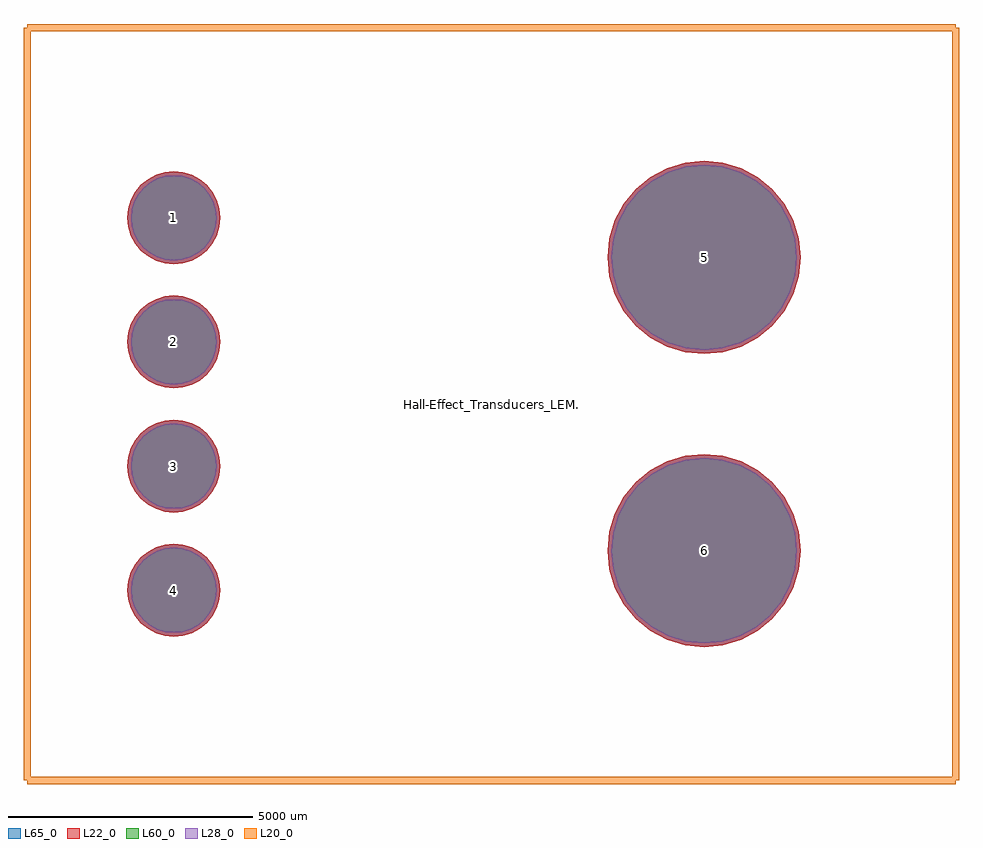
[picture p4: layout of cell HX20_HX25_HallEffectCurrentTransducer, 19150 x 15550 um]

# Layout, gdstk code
import gdstk
lib = gdstk.Library(unit=1e-6, precision=1e-09)
def P(c, l, *ps):  # polygons
    for p in ps: c.add(gdstk.Polygon(p, *l))
L20_0 = (20, 0)
L22_0 = (22, 0)
L28_0 = (28, 0)
L60_0 = (60, 0)
L65_0 = (65, 0)

hx20_hx25_halleffectcurr = lib.new_cell('HX20_HX25_HallEffectCurrentTransducer')
P(hx20_hx25_halleffectcurr, L22_0, [(-5550,-3810),(-5568.254,-3624.664),(-5622.314,-3446.451),(-5710.104,-3282.208),(-5828.249,-3138.249),(-5972.208,-3020.104),(-6136.451,-2932.314),(-6314.664,-2878.254),(-6500,-2860),(-6685.336,-2878.254),(-6863.549,-2932.314),(-7027.792,-3020.104),(-7171.751,-3138.249),(-7289.896,-3282.208),(-7377.686,-3446.451),(-7431.746,-3624.664),(-7450,-3810),(-7431.746,-3995.336),(-7377.686,-4173.549),(-7289.896,-4337.792),(-7171.751,-4481.751),(-7027.792,-4599.896),(-6863.549,-4687.686),(-6685.336,-4741.746),(-6500,-4760),(-6314.664,-4741.746),(-6136.451,-4687.686),(-5972.208,-4599.896),(-5828.249,-4481.751),(-5710.104,-4337.792),(-5622.314,-4173.549),(-5568.254,-3995.336)],
  [(-5550,3810),(-5568.254,3995.336),(-5622.314,4173.549),(-5710.104,4337.792),(-5828.249,4481.751),(-5972.208,4599.896),(-6136.451,4687.686),(-6314.664,4741.746),(-6500,4760),(-6685.336,4741.746),(-6863.549,4687.686),(-7027.792,4599.896),(-7171.751,4481.751),(-7289.896,4337.792),(-7377.686,4173.549),(-7431.746,3995.336),(-7450,3810),(-7431.746,3624.664),(-7377.686,3446.451),(-7289.896,3282.208),(-7171.751,3138.249),(-7027.792,3020.104),(-6863.549,2932.314),(-6685.336,2878.254),(-6500,2860),(-6314.664,2878.254),(-6136.451,2932.314),(-5972.208,3020.104),(-5828.249,3138.249),(-5710.104,3282.208),(-5622.314,3446.451),(-5568.254,3624.664)],
  [(-5550,1270),(-5568.254,1455.336),(-5622.314,1633.549),(-5710.104,1797.792),(-5828.249,1941.751),(-5972.208,2059.896),(-6136.451,2147.686),(-6314.664,2201.746),(-6500,2220),(-6685.336,2201.746),(-6863.549,2147.686),(-7027.792,2059.896),(-7171.751,1941.751),(-7289.896,1797.792),(-7377.686,1633.549),(-7431.746,1455.336),(-7450,1270),(-7431.746,1084.664),(-7377.686,906.451),(-7289.896,742.208),(-7171.751,598.249),(-7027.792,480.104),(-6863.549,392.314),(-6685.336,338.254),(-6500,320),(-6314.664,338.254),(-6136.451,392.314),(-5972.208,480.104),(-5828.249,598.249),(-5710.104,742.208),(-5622.314,906.451),(-5568.254,1084.664)],
  [(-5550,-1270),(-5568.254,-1084.664),(-5622.314,-906.451),(-5710.104,-742.208),(-5828.249,-598.249),(-5972.208,-480.104),(-6136.451,-392.314),(-6314.664,-338.254),(-6500,-320),(-6685.336,-338.254),(-6863.549,-392.314),(-7027.792,-480.104),(-7171.751,-598.249),(-7289.896,-742.208),(-7377.686,-906.451),(-7431.746,-1084.664),(-7450,-1270),(-7431.746,-1455.336),(-7377.686,-1633.549),(-7289.896,-1797.792),(-7171.751,-1941.751),(-7027.792,-2059.896),(-6863.549,-2147.686),(-6685.336,-2201.746),(-6500,-2220),(-6314.664,-2201.746),(-6136.451,-2147.686),(-5972.208,-2059.896),(-5828.249,-1941.751),(-5710.104,-1797.792),(-5622.314,-1633.549),(-5568.254,-1455.336)],
  [(6325,-3000),(6287.051,-2614.697),(6174.662,-2244.2),(5992.152,-1902.749),(5746.536,-1603.464),(5447.251,-1357.848),(5105.8,-1175.338),(4735.303,-1062.949),(4350,-1025),(3964.697,-1062.949),(3594.2,-1175.338),(3252.749,-1357.848),(2953.464,-1603.464),(2707.848,-1902.749),(2525.338,-2244.2),(2412.949,-2614.697),(2375,-3000),(2412.949,-3385.303),(2525.338,-3755.8),(2707.848,-4097.251),(2953.464,-4396.536),(3252.749,-4642.152),(3594.2,-4824.662),(3964.697,-4937.051),(4350,-4975),(4735.303,-4937.051),(5105.8,-4824.662),(5447.251,-4642.152),(5746.536,-4396.536),(5992.152,-4097.251),(6174.662,-3755.8),(6287.051,-3385.303)],
  [(6325,3000),(6287.051,3385.303),(6174.662,3755.8),(5992.152,4097.251),(5746.536,4396.536),(5447.251,4642.152),(5105.8,4824.662),(4735.303,4937.051),(4350,4975),(3964.697,4937.051),(3594.2,4824.662),(3252.749,4642.152),(2953.464,4396.536),(2707.848,4097.251),(2525.338,3755.8),(2412.949,3385.303),(2375,3000),(2412.949,2614.697),(2525.338,2244.2),(2707.848,1902.749),(2953.464,1603.464),(3252.749,1357.848),(3594.2,1175.338),(3964.697,1062.949),(4350,1025),(4735.303,1062.949),(5105.8,1175.338),(5447.251,1357.848),(5746.536,1603.464),(5992.152,1902.749),(6174.662,2244.2),(6287.051,2614.697)])
P(hx20_hx25_halleffectcurr, L28_0, [(-5625,-3810),(-5641.813,-3639.296),(-5691.605,-3475.152),(-5772.464,-3323.876),(-5881.282,-3191.282),(-6013.876,-3082.464),(-6165.152,-3001.605),(-6329.296,-2951.813),(-6500,-2935),(-6670.704,-2951.813),(-6834.848,-3001.605),(-6986.124,-3082.464),(-7118.718,-3191.282),(-7227.536,-3323.876),(-7308.395,-3475.152),(-7358.187,-3639.296),(-7375,-3810),(-7358.187,-3980.704),(-7308.395,-4144.848),(-7227.536,-4296.124),(-7118.718,-4428.718),(-6986.124,-4537.536),(-6834.848,-4618.395),(-6670.704,-4668.187),(-6500,-4685),(-6329.296,-4668.187),(-6165.152,-4618.395),(-6013.876,-4537.536),(-5881.282,-4428.718),(-5772.464,-4296.124),(-5691.605,-4144.848),(-5641.813,-3980.704)],
  [(-5625,3810),(-5641.813,3980.704),(-5691.605,4144.848),(-5772.464,4296.124),(-5881.282,4428.718),(-6013.876,4537.536),(-6165.152,4618.395),(-6329.296,4668.187),(-6500,4685),(-6670.704,4668.187),(-6834.848,4618.395),(-6986.124,4537.536),(-7118.718,4428.718),(-7227.536,4296.124),(-7308.395,4144.848),(-7358.187,3980.704),(-7375,3810),(-7358.187,3639.296),(-7308.395,3475.152),(-7227.536,3323.876),(-7118.718,3191.282),(-6986.124,3082.464),(-6834.848,3001.605),(-6670.704,2951.813),(-6500,2935),(-6329.296,2951.813),(-6165.152,3001.605),(-6013.876,3082.464),(-5881.282,3191.282),(-5772.464,3323.876),(-5691.605,3475.152),(-5641.813,3639.296)],
  [(-5625,1270),(-5641.813,1440.704),(-5691.605,1604.848),(-5772.464,1756.124),(-5881.282,1888.718),(-6013.876,1997.536),(-6165.152,2078.395),(-6329.296,2128.187),(-6500,2145),(-6670.704,2128.187),(-6834.848,2078.395),(-6986.124,1997.536),(-7118.718,1888.718),(-7227.536,1756.124),(-7308.395,1604.848),(-7358.187,1440.704),(-7375,1270),(-7358.187,1099.296),(-7308.395,935.152),(-7227.536,783.876),(-7118.718,651.282),(-6986.124,542.464),(-6834.848,461.605),(-6670.704,411.813),(-6500,395),(-6329.296,411.813),(-6165.152,461.605),(-6013.876,542.464),(-5881.282,651.282),(-5772.464,783.876),(-5691.605,935.152),(-5641.813,1099.296)],
  [(-5625,-1270),(-5641.813,-1099.296),(-5691.605,-935.152),(-5772.464,-783.876),(-5881.282,-651.282),(-6013.876,-542.464),(-6165.152,-461.605),(-6329.296,-411.813),(-6500,-395),(-6670.704,-411.813),(-6834.848,-461.605),(-6986.124,-542.464),(-7118.718,-651.282),(-7227.536,-783.876),(-7308.395,-935.152),(-7358.187,-1099.296),(-7375,-1270),(-7358.187,-1440.704),(-7308.395,-1604.848),(-7227.536,-1756.124),(-7118.718,-1888.718),(-6986.124,-1997.536),(-6834.848,-2078.395),(-6670.704,-2128.187),(-6500,-2145),(-6329.296,-2128.187),(-6165.152,-2078.395),(-6013.876,-1997.536),(-5881.282,-1888.718),(-5772.464,-1756.124),(-5691.605,-1604.848),(-5641.813,-1440.704)],
  [(6250,-3000),(6213.492,-2629.328),(6105.371,-2272.901),(5929.792,-1944.417),(5693.503,-1656.497),(5405.583,-1420.208),(5077.099,-1244.629),(4720.672,-1136.508),(4350,-1100),(3979.328,-1136.508),(3622.901,-1244.629),(3294.417,-1420.208),(3006.497,-1656.497),(2770.208,-1944.417),(2594.629,-2272.901),(2486.508,-2629.328),(2450,-3000),(2486.508,-3370.672),(2594.629,-3727.099),(2770.208,-4055.583),(3006.497,-4343.503),(3294.417,-4579.792),(3622.901,-4755.371),(3979.328,-4863.492),(4350,-4900),(4720.672,-4863.492),(5077.099,-4755.371),(5405.583,-4579.792),(5693.503,-4343.503),(5929.792,-4055.583),(6105.371,-3727.099),(6213.492,-3370.672)],
  [(6250,3000),(6213.492,3370.672),(6105.371,3727.099),(5929.792,4055.583),(5693.503,4343.503),(5405.583,4579.792),(5077.099,4755.371),(4720.672,4863.492),(4350,4900),(3979.328,4863.492),(3622.901,4755.371),(3294.417,4579.792),(3006.497,4343.503),(2770.208,4055.583),(2594.629,3727.099),(2486.508,3370.672),(2450,3000),(2486.508,2629.328),(2594.629,2272.901),(2770.208,1944.417),(3006.497,1656.497),(3294.417,1420.208),(3622.901,1244.629),(3979.328,1136.508),(4350,1100),(4720.672,1136.508),(5077.099,1244.629),(5405.583,1420.208),(5693.503,1656.497),(5929.792,1944.417),(6105.371,2272.901),(6213.492,2629.328)])
P(hx20_hx25_halleffectcurr, L60_0, [(-5625,-3810),(-5641.813,-3639.296),(-5691.605,-3475.152),(-5772.464,-3323.876),(-5881.282,-3191.282),(-6013.876,-3082.464),(-6165.152,-3001.605),(-6329.296,-2951.813),(-6500,-2935),(-6670.704,-2951.813),(-6834.848,-3001.605),(-6986.124,-3082.464),(-7118.718,-3191.282),(-7227.536,-3323.876),(-7308.395,-3475.152),(-7358.187,-3639.296),(-7375,-3810),(-7358.187,-3980.704),(-7308.395,-4144.848),(-7227.536,-4296.124),(-7118.718,-4428.718),(-6986.124,-4537.536),(-6834.848,-4618.395),(-6670.704,-4668.187),(-6500,-4685),(-6329.296,-4668.187),(-6165.152,-4618.395),(-6013.876,-4537.536),(-5881.282,-4428.718),(-5772.464,-4296.124),(-5691.605,-4144.848),(-5641.813,-3980.704)],
  [(-5625,3810),(-5641.813,3980.704),(-5691.605,4144.848),(-5772.464,4296.124),(-5881.282,4428.718),(-6013.876,4537.536),(-6165.152,4618.395),(-6329.296,4668.187),(-6500,4685),(-6670.704,4668.187),(-6834.848,4618.395),(-6986.124,4537.536),(-7118.718,4428.718),(-7227.536,4296.124),(-7308.395,4144.848),(-7358.187,3980.704),(-7375,3810),(-7358.187,3639.296),(-7308.395,3475.152),(-7227.536,3323.876),(-7118.718,3191.282),(-6986.124,3082.464),(-6834.848,3001.605),(-6670.704,2951.813),(-6500,2935),(-6329.296,2951.813),(-6165.152,3001.605),(-6013.876,3082.464),(-5881.282,3191.282),(-5772.464,3323.876),(-5691.605,3475.152),(-5641.813,3639.296)],
  [(-5625,1270),(-5641.813,1440.704),(-5691.605,1604.848),(-5772.464,1756.124),(-5881.282,1888.718),(-6013.876,1997.536),(-6165.152,2078.395),(-6329.296,2128.187),(-6500,2145),(-6670.704,2128.187),(-6834.848,2078.395),(-6986.124,1997.536),(-7118.718,1888.718),(-7227.536,1756.124),(-7308.395,1604.848),(-7358.187,1440.704),(-7375,1270),(-7358.187,1099.296),(-7308.395,935.152),(-7227.536,783.876),(-7118.718,651.282),(-6986.124,542.464),(-6834.848,461.605),(-6670.704,411.813),(-6500,395),(-6329.296,411.813),(-6165.152,461.605),(-6013.876,542.464),(-5881.282,651.282),(-5772.464,783.876),(-5691.605,935.152),(-5641.813,1099.296)],
  [(-5625,-1270),(-5641.813,-1099.296),(-5691.605,-935.152),(-5772.464,-783.876),(-5881.282,-651.282),(-6013.876,-542.464),(-6165.152,-461.605),(-6329.296,-411.813),(-6500,-395),(-6670.704,-411.813),(-6834.848,-461.605),(-6986.124,-542.464),(-7118.718,-651.282),(-7227.536,-783.876),(-7308.395,-935.152),(-7358.187,-1099.296),(-7375,-1270),(-7358.187,-1440.704),(-7308.395,-1604.848),(-7227.536,-1756.124),(-7118.718,-1888.718),(-6986.124,-1997.536),(-6834.848,-2078.395),(-6670.704,-2128.187),(-6500,-2145),(-6329.296,-2128.187),(-6165.152,-2078.395),(-6013.876,-1997.536),(-5881.282,-1888.718),(-5772.464,-1756.124),(-5691.605,-1604.848),(-5641.813,-1440.704)],
  [(6250,-3000),(6213.492,-2629.328),(6105.371,-2272.901),(5929.792,-1944.417),(5693.503,-1656.497),(5405.583,-1420.208),(5077.099,-1244.629),(4720.672,-1136.508),(4350,-1100),(3979.328,-1136.508),(3622.901,-1244.629),(3294.417,-1420.208),(3006.497,-1656.497),(2770.208,-1944.417),(2594.629,-2272.901),(2486.508,-2629.328),(2450,-3000),(2486.508,-3370.672),(2594.629,-3727.099),(2770.208,-4055.583),(3006.497,-4343.503),(3294.417,-4579.792),(3622.901,-4755.371),(3979.328,-4863.492),(4350,-4900),(4720.672,-4863.492),(5077.099,-4755.371),(5405.583,-4579.792),(5693.503,-4343.503),(5929.792,-4055.583),(6105.371,-3727.099),(6213.492,-3370.672)],
  [(6250,3000),(6213.492,3370.672),(6105.371,3727.099),(5929.792,4055.583),(5693.503,4343.503),(5405.583,4579.792),(5077.099,4755.371),(4720.672,4863.492),(4350,4900),(3979.328,4863.492),(3622.901,4755.371),(3294.417,4579.792),(3006.497,4343.503),(2770.208,4055.583),(2594.629,3727.099),(2486.508,3370.672),(2450,3000),(2486.508,2629.328),(2594.629,2272.901),(2770.208,1944.417),(3006.497,1656.497),(3294.417,1420.208),(3622.901,1244.629),(3979.328,1136.508),(4350,1100),(4720.672,1136.508),(5077.099,1244.629),(5405.583,1420.208),(5693.503,1656.497),(5929.792,1944.417),(6105.371,2272.901),(6213.492,2629.328)])
P(hx20_hx25_halleffectcurr, L65_0, [(-5550,-3810),(-5568.254,-3624.664),(-5622.314,-3446.451),(-5710.104,-3282.208),(-5828.249,-3138.249),(-5972.208,-3020.104),(-6136.451,-2932.314),(-6314.664,-2878.254),(-6500,-2860),(-6685.336,-2878.254),(-6863.549,-2932.314),(-7027.792,-3020.104),(-7171.751,-3138.249),(-7289.896,-3282.208),(-7377.686,-3446.451),(-7431.746,-3624.664),(-7450,-3810),(-7431.746,-3995.336),(-7377.686,-4173.549),(-7289.896,-4337.792),(-7171.751,-4481.751),(-7027.792,-4599.896),(-6863.549,-4687.686),(-6685.336,-4741.746),(-6500,-4760),(-6314.664,-4741.746),(-6136.451,-4687.686),(-5972.208,-4599.896),(-5828.249,-4481.751),(-5710.104,-4337.792),(-5622.314,-4173.549),(-5568.254,-3995.336)],
  [(-5550,3810),(-5568.254,3995.336),(-5622.314,4173.549),(-5710.104,4337.792),(-5828.249,4481.751),(-5972.208,4599.896),(-6136.451,4687.686),(-6314.664,4741.746),(-6500,4760),(-6685.336,4741.746),(-6863.549,4687.686),(-7027.792,4599.896),(-7171.751,4481.751),(-7289.896,4337.792),(-7377.686,4173.549),(-7431.746,3995.336),(-7450,3810),(-7431.746,3624.664),(-7377.686,3446.451),(-7289.896,3282.208),(-7171.751,3138.249),(-7027.792,3020.104),(-6863.549,2932.314),(-6685.336,2878.254),(-6500,2860),(-6314.664,2878.254),(-6136.451,2932.314),(-5972.208,3020.104),(-5828.249,3138.249),(-5710.104,3282.208),(-5622.314,3446.451),(-5568.254,3624.664)],
  [(-5550,1270),(-5568.254,1455.336),(-5622.314,1633.549),(-5710.104,1797.792),(-5828.249,1941.751),(-5972.208,2059.896),(-6136.451,2147.686),(-6314.664,2201.746),(-6500,2220),(-6685.336,2201.746),(-6863.549,2147.686),(-7027.792,2059.896),(-7171.751,1941.751),(-7289.896,1797.792),(-7377.686,1633.549),(-7431.746,1455.336),(-7450,1270),(-7431.746,1084.664),(-7377.686,906.451),(-7289.896,742.208),(-7171.751,598.249),(-7027.792,480.104),(-6863.549,392.314),(-6685.336,338.254),(-6500,320),(-6314.664,338.254),(-6136.451,392.314),(-5972.208,480.104),(-5828.249,598.249),(-5710.104,742.208),(-5622.314,906.451),(-5568.254,1084.664)],
  [(-5550,-1270),(-5568.254,-1084.664),(-5622.314,-906.451),(-5710.104,-742.208),(-5828.249,-598.249),(-5972.208,-480.104),(-6136.451,-392.314),(-6314.664,-338.254),(-6500,-320),(-6685.336,-338.254),(-6863.549,-392.314),(-7027.792,-480.104),(-7171.751,-598.249),(-7289.896,-742.208),(-7377.686,-906.451),(-7431.746,-1084.664),(-7450,-1270),(-7431.746,-1455.336),(-7377.686,-1633.549),(-7289.896,-1797.792),(-7171.751,-1941.751),(-7027.792,-2059.896),(-6863.549,-2147.686),(-6685.336,-2201.746),(-6500,-2220),(-6314.664,-2201.746),(-6136.451,-2147.686),(-5972.208,-2059.896),(-5828.249,-1941.751),(-5710.104,-1797.792),(-5622.314,-1633.549),(-5568.254,-1455.336)],
  [(6325,-3000),(6287.051,-2614.697),(6174.662,-2244.2),(5992.152,-1902.749),(5746.536,-1603.464),(5447.251,-1357.848),(5105.8,-1175.338),(4735.303,-1062.949),(4350,-1025),(3964.697,-1062.949),(3594.2,-1175.338),(3252.749,-1357.848),(2953.464,-1603.464),(2707.848,-1902.749),(2525.338,-2244.2),(2412.949,-2614.697),(2375,-3000),(2412.949,-3385.303),(2525.338,-3755.8),(2707.848,-4097.251),(2953.464,-4396.536),(3252.749,-4642.152),(3594.2,-4824.662),(3964.697,-4937.051),(4350,-4975),(4735.303,-4937.051),(5105.8,-4824.662),(5447.251,-4642.152),(5746.536,-4396.536),(5992.152,-4097.251),(6174.662,-3755.8),(6287.051,-3385.303)],
  [(6325,3000),(6287.051,3385.303),(6174.662,3755.8),(5992.152,4097.251),(5746.536,4396.536),(5447.251,4642.152),(5105.8,4824.662),(4735.303,4937.051),(4350,4975),(3964.697,4937.051),(3594.2,4824.662),(3252.749,4642.152),(2953.464,4396.536),(2707.848,4097.251),(2525.338,3755.8),(2412.949,3385.303),(2375,3000),(2412.949,2614.697),(2525.338,2244.2),(2707.848,1902.749),(2953.464,1603.464),(3252.749,1357.848),(3594.2,1175.338),(3964.697,1062.949),(4350,1025),(4735.303,1062.949),(5105.8,1175.338),(5447.251,1357.848),(5746.536,1603.464),(5992.152,1902.749),(6174.662,2244.2),(6287.051,2614.697)])
hx20_hx25_halleffectcurr.add(gdstk.FlexPath([(-9500,7700),(-9500,-7700)], 149.998, ends="flush", simple_path=True, layer=20, datatype=0))  # L20_0
hx20_hx25_halleffectcurr.add(gdstk.FlexPath([(9500,7700),(-9500,7700)], 149.998, ends="flush", simple_path=True, layer=20, datatype=0))  # L20_0
hx20_hx25_halleffectcurr.add(gdstk.FlexPath([(9500,-7700),(9500,7700)], 149.998, ends="flush", simple_path=True, layer=20, datatype=0))  # L20_0
hx20_hx25_halleffectcurr.add(gdstk.FlexPath([(-9500,-7700),(9500,-7700)], 149.998, ends="flush", simple_path=True, layer=20, datatype=0))  # L20_0
hx20_hx25_halleffectcurr.add(gdstk.Label('Hall-Effect_Transducers_LEM.3dshapes/HX20_HX25_HallEffectCurrentTransducer.wrl', (0,0), layer=12, texttype=0))
hx20_hx25_halleffectcurr.add(gdstk.Label('4', (-6500,-3810), layer=28, texttype=0))
hx20_hx25_halleffectcurr.add(gdstk.Label('1', (-6500,3810), layer=28, texttype=0))
hx20_hx25_halleffectcurr.add(gdstk.Label('2', (-6500,1270), layer=28, texttype=0))
hx20_hx25_halleffectcurr.add(gdstk.Label('3', (-6500,-1270), layer=28, texttype=0))
hx20_hx25_halleffectcurr.add(gdstk.Label('6', (4350,-3000), layer=28, texttype=0))
hx20_hx25_halleffectcurr.add(gdstk.Label('5', (4350,3000), layer=28, texttype=0))
hx20_hx25_halleffectcurr.add(gdstk.Label('type', (100,-10200), layer=9, texttype=0))
hx20_hx25_halleffectcurr.add(gdstk.Label('devicename', (100,10800), layer=9, texttype=0))

lib.write_gds('HX20_HX25_HallEffectCurrentTransducer.gds')
